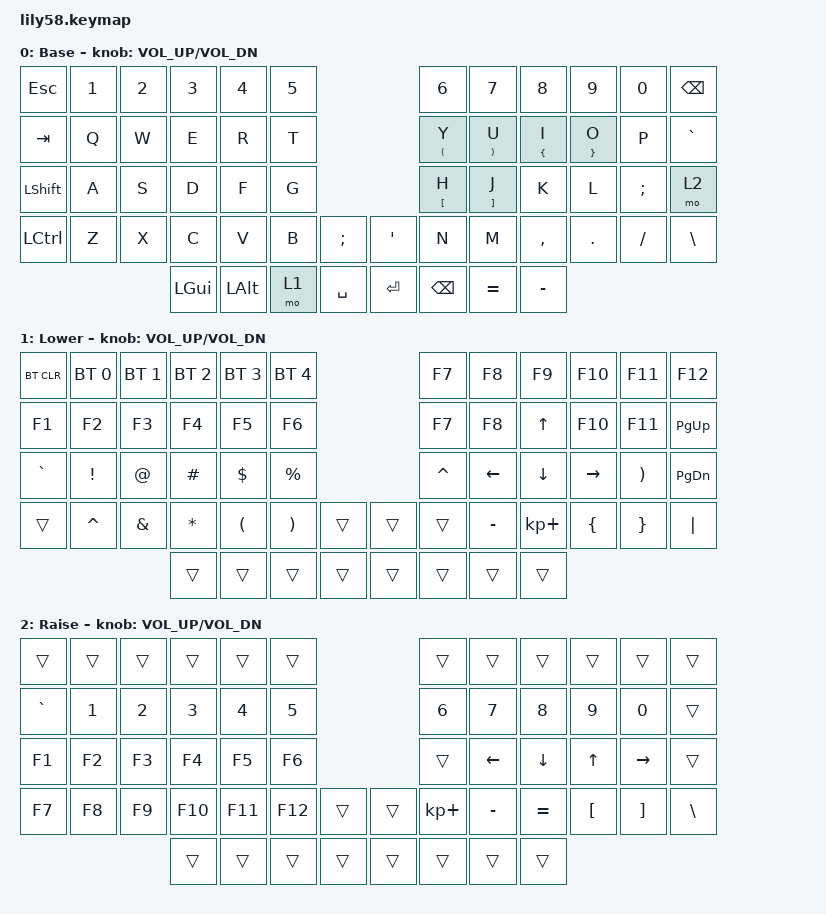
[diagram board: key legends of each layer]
/*
 * Copyright (c) 2020 The ZMK Contributors
 *
 * SPDX-License-Identifier: MIT
 */

#include <behaviors.dtsi>
#include <dt-bindings/zmk/bt.h>
#include <dt-bindings/zmk/keys.h>

/ {
    keymap {
        compatible = "zmk,keymap";

        default_layer {
            // ------------------------------------------------------------------------------------------------------------
            // |  ESC  |  1  |  2  |  3   |  4   |  5   |                   |  6   |  7    |  8    |  9   |   0   |   `   |
            // |  TAB  |  Q  |  W  |  E   |  R   |  T   |                   |  Y   |  U    |  I    |  O   |   P   |   -   |
            // |  CTRL |  A  |  S  |  D   |  F   |  G   |                   |  H   |  J    |  K    |  L   |   ;   |   '   |
            // | SHIFT |  Z  |  X  |  C   |  V   |  B   |   "["  |  |  "]"  |  N   |  M    |  ,    |  .   |   /   | SHIFT |
            //                     | ALT  | GUI  | LOWER|  SPACE |  | ENTER | RAISE| BSPC  | GUI   |

            display-name = "Base";
            bindings = <
&kp ESC         &kp N1  &kp N2  &kp N3        &kp N4        &kp N5                          &kp N6                  &kp N7                   &kp N8            &kp N9             &kp N0    &kp BACKSPACE
&kp TAB         &kp Q   &kp W   &kp E         &kp R         &kp T                           &mt LEFT_PARENTHESIS Y  &mt RIGHT_PARENTHESIS U  &mt LEFT_BRACE I  &mt RIGHT_BRACE O  &kp P     &kp GRAVE
&kp LEFT_SHIFT  &kp A   &kp S   &kp D         &kp F         &kp G                           &mt LEFT_BRACKET H      &mt RIGHT_BRACKET J      &kp K             &kp L              &kp SEMI  &mo 2
&kp LCTRL       &kp Z   &kp X   &kp C         &kp V         &kp B   &kp SEMI     &kp APOS   &kp N                   &kp M                    &kp COMMA         &kp DOT            &kp FSLH  &kp BACKSLASH
                                &kp LEFT_GUI  &kp LEFT_ALT  &mo 1   &kp SPACE    &kp ENTER  &kp BACKSPACE           &kp EQUAL                &kp MINUS
            >;

            sensor-bindings = <&inc_dec_kp C_VOL_UP C_VOL_DN>;
        };

        lower_layer {
            // ------------------------------------------------------------------------------------------------------------
            // | BTCLR | BT1 | BT2 |  BT3 |  BT4 |  BT5 |                   |      |       |       |      |       |       |
            // |  F1   |  F2 |  F3 |  F4  |  F5  |  F6  |                   |  F7  |  F8   |  F9   |  F10 |  F11  |  F12  |
            // |   `   |  !  |  @  |  #   |  $   |  %   |                   |  ^   |  &    |  *    |  (   |   )   |   ~   |
            // |       |     |     |      |      |      |        |  |       |      |  _    |  +    |  {   |   }   |  "|"  |
            //                     |      |      |      |        |  |       |      |       |       |

            display-name = "Lower";
            bindings = <
&bt BT_CLR  &bt BT_SEL 0  &bt BT_SEL 1  &bt BT_SEL 2  &bt BT_SEL 3          &bt BT_SEL 4                             &kp F7     &kp F8          &kp F9        &kp F10    &kp F11   &kp F12
&kp F1      &kp F2        &kp F3        &kp F4        &kp F5                &kp F6                                   &kp F7     &kp F8          &kp UP_ARROW  &kp F10    &kp F11   &kp PAGE_UP
&kp GRAVE   &kp EXCL      &kp AT        &kp HASH      &kp DOLLAR            &kp PRCNT                                &kp CARET  &kp LEFT_ARROW  &kp DOWN      &kp RIGHT  &kp RPAR  &kp PAGE_DOWN
&trans      &kp CARET     &kp AMPS      &kp STAR      &kp LEFT_PARENTHESIS  &kp RIGHT_PARENTHESIS  &trans    &trans  &trans     &kp MINUS       &kp KP_PLUS   &kp LBRC   &kp RBRC  &kp PIPE
                                        &trans        &trans                &trans                 &trans    &trans  &trans     &trans          &trans
            >;

            sensor-bindings = <&inc_dec_kp C_VOL_UP C_VOL_DN>;
        };

        raise_layer {
            // ------------------------------------------------------------------------------------------------------------
            // |       |     |     |      |      |      |                   |      |       |       |      |       |       |
            // |   `   |  1  |  2  |  3   |  4   |  5   |                   |  6   |   7   |   8   |  9   |   0   |       |
            // |   F1  |  F2 |  F3 |  F4  |  F5  |  F6  |                   |      |   <-  |   v   |  ^   |  ->   |       |
            // |   F7  |  F8 |  F9 |  F10 |  F11 |  F12 |        |  |       |  +   |   -   |   =   |  [   |   ]   |   \   |
            //                     |      |      |      |        |  |       |      |       |       |

            display-name = "Raise";
            bindings = <
&trans     &trans  &trans  &trans   &trans   &trans                     &trans       &trans     &trans     &trans    &trans     &trans
&kp GRAVE  &kp N1  &kp N2  &kp N3   &kp N4   &kp N5                     &kp N6       &kp N7     &kp N8     &kp N9    &kp N0     &trans
&kp F1     &kp F2  &kp F3  &kp F4   &kp F5   &kp F6                     &trans       &kp LEFT   &kp DOWN   &kp UP    &kp RIGHT  &trans
&kp F7     &kp F8  &kp F9  &kp F10  &kp F11  &kp F12  &trans    &trans  &kp KP_PLUS  &kp MINUS  &kp EQUAL  &kp LBKT  &kp RBKT   &kp BSLH
                           &trans   &trans   &trans   &trans    &trans  &trans       &trans     &trans
            >;

            sensor-bindings = <&inc_dec_kp C_VOL_UP C_VOL_DN>;
        };

        extra_1 { status = "reserved"; };

        extra_2 { status = "reserved"; };

        extra_3 { status = "reserved"; };
    };
};
